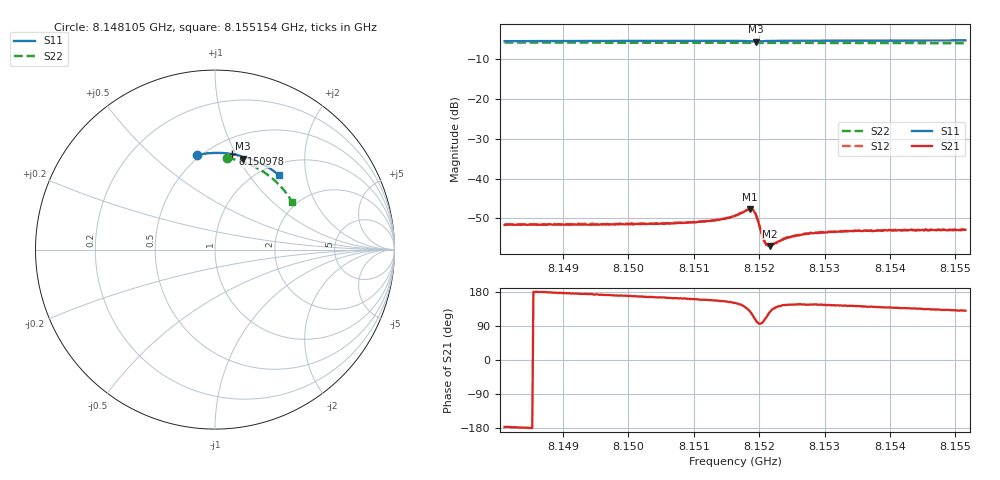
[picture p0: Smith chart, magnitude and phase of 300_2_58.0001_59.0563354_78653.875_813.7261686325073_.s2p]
#  HZ  S  RI  R  50.00
! Rohde & Schwarz Vector Network Analyzer
! Rohde-Schwarz,ZNB20-2Port,1311601062101988,3.16
! Created: UTC 3/21/2024, 1:03:45 AM
! freq[Hz]  re:S11  im:S11  re:S21  im:S21  re:S12  im:S12  re:S22  im:S22
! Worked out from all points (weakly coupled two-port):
!   401 points, 8.148105 GHz to 8.155154 GHz, reference 50 ohm
!   highest |S21| = -47.67 dB at 8.151859 GHz (marker M1); lowest = -56.9 dB at 8.152158 GHz (marker M2)
!   lowest |S11| = -5.5 dB at 8.151947 GHz (marker M3), VSWR 3.25, Z = 37.2 + j52.3 ohm
!   |S11| at or under -10 dB: nowhere
!   |S22| runs from -5.9 to -5.8 dB; largest |S21 - S12| = 0.00014
!   S11 on the Smith chart (normalised r, x): 8.148105 GHz: 0.48, +0.71; 8.150978 GHz: 0.64, +0.97; 8.155154 GHz: 1.19, +1.41
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8.1481054e9  -0.1025 0.5262  -0.0026 -0.000155  -0.00266 -0.000129  0.0655 0.5103
8.1492861e9  -0.0208 0.5378  -0.00262 0.00025  -0.00268 0.000312  0.1406 0.4937
8.1504668e9  0.0614 0.5366  -0.00261 0.000678  -0.00263 0.00075  0.212 0.4659
8.1509778e9  0.0971 0.5322  -0.00264 0.000905  -0.00267 0.000965  0.2412 0.4508
8.1513655e9  0.1245 0.5267  -0.00278 0.0012  -0.00279 0.00126  0.2627 0.4381
8.1516298e9  0.1436 0.521  -0.00297 0.00167  -0.00294 0.00172  0.277 0.4286
8.1518589e9  0.1586 0.5098  -0.00256 0.00324  -0.0025 0.00331  0.2888 0.4199
8.1519118e9  0.1584 0.5063  -0.00165 0.00361  -0.00161 0.00368  0.2913 0.418
8.151947e9  0.1571 0.5057  -0.000909 0.00344  -0.000871 0.00346  0.2931 0.4168
8.1519823e9  0.1565 0.5071  -0.000397 0.0029  -0.000353 0.00293  0.2947 0.4155
8.1520351e9  0.1585 0.5102  -0.000249 0.00203  -0.000206 0.00208  0.2976 0.4136
8.1520704e9  0.1611 0.5115  -0.000392 0.00164  -0.000377 0.00166  0.2992 0.4125
8.1521056e9  0.1641 0.5122  -0.000559 0.00136  -0.00057 0.00139  0.3011 0.4111
8.1521232e9  0.1656 0.5122  -0.000639 0.00131  -0.00064 0.00129  0.3023 0.4105
8.1521585e9  0.1686 0.5124  -0.000832 0.00116  -0.000797 0.00119  0.3038 0.409
8.152229e9  0.1744 0.5119  -0.00108 0.00106  -0.00108 0.00107  0.3075 0.4062
8.1523171e9  0.1812 0.5105  -0.00128 0.001  -0.00133 0.00105  0.3119 0.4028
8.152458e9  0.1914 0.5075  -0.00153 0.00103  -0.00151 0.00108  0.319 0.3972
8.1528105e9  0.2153 0.499  -0.0017 0.00115  -0.00173 0.00119  0.3359 0.3821
8.1533392e9  0.2493 0.484  -0.00173 0.00131  -0.00175 0.00134  0.3599 0.3585
8.1539912e9  0.2891 0.4625  -0.00169 0.00148  -0.00165 0.00151  0.387 0.3275
8.1551542e9  0.3547 0.4164  -0.00146 0.00174  -0.00143 0.00179  0.4287 0.2672
